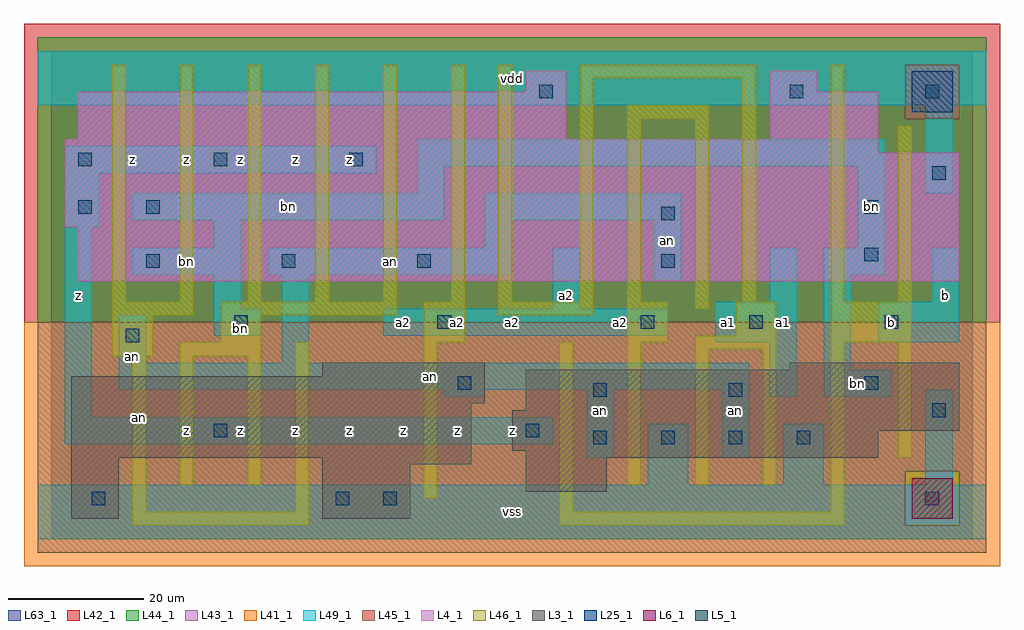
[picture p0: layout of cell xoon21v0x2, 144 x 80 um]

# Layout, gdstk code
import gdstk
lib = gdstk.Library(unit=1e-6, precision=1e-09)
def R(c, l, rs):  # rectangles x0, y0, x1, y1
    for r in rs: c.add(gdstk.rectangle(r[:2], r[2:], *l))
def A(c, l, x, y, w, h, nx, ny, dx, dy):  # array of equal rectangles
    R(c, l, [(x+i*dx, y+j*dy, x+i*dx+w, y+j*dy+h) for i in range(nx) for j in range(ny)])
L3_1 = (3, 1)
L4_1 = (4, 1)
L5_1 = (5, 1)
L6_1 = (6, 1)
L25_1 = (25, 1)
L41_1 = (41, 1)
L42_1 = (42, 1)
L43_1 = (43, 1)
L44_1 = (44, 1)
L45_1 = (45, 1)
L46_1 = (46, 1)
L49_1 = (49, 1)
L63_1 = (63, 1)

xoon21v0x2 = lib.new_cell('xoon21v0x2')
R(xoon21v0x2, L3_1, [(3,3,10,12), (40,3,53,11), (70,7,82,12), (40,11,62,12), (3,12,62,20), (70,12,122,13), (68,13,122,16), (68,16,134,19), (70,19,134,25), (3,20,64,24), (40,24,64,26), (109,25,134,26)])
R(xoon21v0x2, L4_1, [(4,38,134,46), (2,46,134,57), (2,57,122,59), (4,59,76,66), (106,59,122,66), (70,66,76,69), (106,66,113,69)])
R(xoon21v0x2, L5_1, [(127,63,133,69)])
R(xoon21v0x2, L6_1, [(127,3,133,9), (127,3,133,9)])
A(xoon21v0x2, L25_1, 80, 14, 2, 2, 4, 1, 10, 0)
A(xoon21v0x2, L25_1, 27, 31, 2, 2, 3, 1, 30, 0)
A(xoon21v0x2, L25_1, 14, 40, 2, 2, 3, 1, 20, 0)
A(xoon21v0x2, L25_1, 4, 55, 2, 2, 3, 1, 20, 0)
R(xoon21v0x2, L25_1, [(6,5,8,7), (42,5,44,7), (49,5,51,7), (129,5,131,7), (24,15,26,17), (70,15,72,17), (130,18,132,20), (80,21,82,23), (100,21,102,23), (60,22,62,24), (120,22,122,24), (11,29,13,31), (103,31,105,33), (123,31,125,33), (90,40,92,42), (120,41,122,43), (90,47,92,49), (4,48,6,50), (14,48,16,50), (120,48,122,50), (130,53,132,55), (72,65,74,67), (109,65,111,67), (129,65,131,67)])
R(xoon21v0x2, L41_1, [(-4,-4,140,32)])
R(xoon21v0x2, L42_1, [(-4,32,140,76)])
R(xoon21v0x2, L43_1, [(3,3,10,12), (40,3,53,11), (127,3,133,9), (70,7,82,12), (40,11,62,12), (3,12,62,20), (70,12,122,13), (68,13,122,16), (68,16,134,19), (70,19,134,25), (3,20,64,24), (40,24,64,26), (109,25,134,26), (4,38,134,46), (2,46,134,57), (2,57,122,59), (4,59,76,66), (106,59,122,66), (127,63,133,69), (70,66,76,69), (106,66,113,69)])
R(xoon21v0x2, L44_1, [(126,2,134,10), (-2,32,138,62), (-2,62,126,70), (134,62,138,70), (-2,70,138,74)])
R(xoon21v0x2, L45_1, [(-2,-2,138,2), (-2,2,126,10), (134,2,138,10), (-2,10,138,32), (126,62,134,70)])
A(xoon21v0x2, L46_1, 9, 35, 2, 35, 6, 1, 10, 0)
R(xoon21v0x2, L46_1, [(12,2,38,4), (75,2,117,4), (12,4,14,27), (36,4,38,29), (75,4,77,29), (115,4,117,29), (55,6,57,29), (19,8,21,27), (29,8,31,27), (85,8,87,29), (95,8,97,28), (105,8,107,28), (125,12,127,29), (9,27,15,33), (19,27,31,29), (95,28,107,30), (25,29,31,33), (55,29,61,35), (85,29,91,35), (115,29,127,35), (101,30,107,35), (9,33,21,35), (25,33,51,35), (66,33,80,35), (95,34,97,62), (66,35,68,70), (78,35,80,68), (85,35,87,62), (102,35,104,68), (115,35,117,70), (125,35,127,61), (85,62,97,64), (78,68,104,70)])
R(xoon21v0x2, L49_1, [(-2,0,138,8), (88,8,94,17), (108,8,114,17), (129,8,133,22), (79,12,83,22), (99,12,103,22), (2,14,74,18), (2,18,6,46), (58,21,64,22), (106,21,110,29), (114,21,124,25), (10,22,103,26), (114,25,118,39), (10,26,14,33), (34,26,38,39), (98,29,110,35), (122,29,134,35), (24,30,31,34), (49,30,91,34), (24,34,28,39), (74,34,78,43), (106,35,110,43), (130,35,134,43), (89,38,93,47), (12,39,28,43), (32,39,68,43), (114,39,123,43), (24,43,28,47), (64,43,68,47), (119,43,123,55), (2,46,7,54), (12,47,58,51), (64,47,93,51), (54,51,58,55), (129,51,133,64), (2,54,48,58), (54,55,123,59), (-2,64,138,72)])
R(xoon21v0x2, L63_1, [(0,0,136,72)])
xoon21v0x2.add(gdstk.Label('an', (13,18), layer=46, texttype=1))
xoon21v0x2.add(gdstk.Label('bn', (28,31), layer=49, texttype=1))
xoon21v0x2.add(gdstk.Label('z', (12,16), layer=49, texttype=1))
xoon21v0x2.add(gdstk.Label('z', (20,16), layer=49, texttype=1))
xoon21v0x2.add(gdstk.Label('an', (12,27), layer=49, texttype=1))
xoon21v0x2.add(gdstk.Label('z', (4,36), layer=49, texttype=1))
xoon21v0x2.add(gdstk.Label('z', (12,56), layer=49, texttype=1))
xoon21v0x2.add(gdstk.Label('z', (20,56), layer=49, texttype=1))
xoon21v0x2.add(gdstk.Label('z', (36,16), layer=49, texttype=1))
xoon21v0x2.add(gdstk.Label('z', (44,16), layer=49, texttype=1))
xoon21v0x2.add(gdstk.Label('z', (28,16), layer=49, texttype=1))
xoon21v0x2.add(gdstk.Label('bn', (27,32), layer=49, texttype=1))
xoon21v0x2.add(gdstk.Label('bn', (20,41), layer=49, texttype=1))
xoon21v0x2.add(gdstk.Label('z', (36,56), layer=49, texttype=1))
xoon21v0x2.add(gdstk.Label('z', (44,56), layer=49, texttype=1))
xoon21v0x2.add(gdstk.Label('z', (28,56), layer=49, texttype=1))
xoon21v0x2.add(gdstk.Label('vss', (68,4), layer=49, texttype=1))
xoon21v0x2.add(gdstk.Label('z', (60,16), layer=49, texttype=1))
xoon21v0x2.add(gdstk.Label('z', (68,16), layer=49, texttype=1))
xoon21v0x2.add(gdstk.Label('z', (52,16), layer=49, texttype=1))
xoon21v0x2.add(gdstk.Label('a2', (60,32), layer=49, texttype=1))
xoon21v0x2.add(gdstk.Label('a2', (68,32), layer=49, texttype=1))
xoon21v0x2.add(gdstk.Label('a2', (52,32), layer=49, texttype=1))
xoon21v0x2.add(gdstk.Label('a2', (76,36), layer=49, texttype=1))
xoon21v0x2.add(gdstk.Label('an', (50,41), layer=49, texttype=1))
xoon21v0x2.add(gdstk.Label('bn', (35,49), layer=49, texttype=1))
xoon21v0x2.add(gdstk.Label('vdd', (68,68), layer=49, texttype=1))
xoon21v0x2.add(gdstk.Label('an', (101,19), layer=49, texttype=1))
xoon21v0x2.add(gdstk.Label('an', (81,19), layer=49, texttype=1))
xoon21v0x2.add(gdstk.Label('an', (56,24), layer=49, texttype=1))
xoon21v0x2.add(gdstk.Label('a1', (100,32), layer=49, texttype=1))
xoon21v0x2.add(gdstk.Label('a1', (108,32), layer=49, texttype=1))
xoon21v0x2.add(gdstk.Label('a2', (84,32), layer=49, texttype=1))
xoon21v0x2.add(gdstk.Label('an', (91,44), layer=49, texttype=1))
xoon21v0x2.add(gdstk.Label('bn', (119,23), layer=49, texttype=1))
xoon21v0x2.add(gdstk.Label('b', (124,32), layer=49, texttype=1))
xoon21v0x2.add(gdstk.Label('b', (132,36), layer=49, texttype=1))
xoon21v0x2.add(gdstk.Label('bn', (121,49), layer=49, texttype=1))

lib.write_gds('xoon21v0x2.gds')
